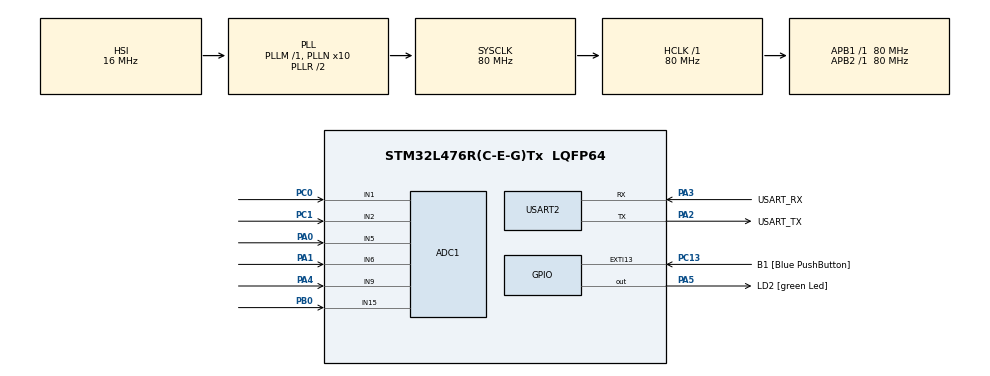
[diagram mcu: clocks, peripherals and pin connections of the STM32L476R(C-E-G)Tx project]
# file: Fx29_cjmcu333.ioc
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ADC1.Channel-1\#ChannelRegularConversion=ADC_CHANNEL_5
ADC1.Channel-2\#ChannelRegularConversion=ADC_CHANNEL_6
ADC1.Channel-3\#ChannelRegularConversion=ADC_CHANNEL_9
ADC1.Channel-4\#ChannelRegularConversion=ADC_CHANNEL_15
ADC1.Channel-5\#ChannelRegularConversion=ADC_CHANNEL_1
ADC1.Channel-6\#ChannelRegularConversion=ADC_CHANNEL_2
ADC1.ContinuousConvMode=ENABLE
ADC1.DMAContinuousRequests=ENABLE
ADC1.EOCSelection=ADC_EOC_SEQ_CONV
ADC1.EnableRegularConversion=ENABLE
ADC1.NbrOfConversion=6
ADC1.NbrOfConversionFlag=1
ADC1.OffsetNumber-1\#ChannelRegularConversion=ADC_OFFSET_NONE
ADC1.OffsetNumber-2\#ChannelRegularConversion=ADC_OFFSET_NONE
ADC1.OffsetNumber-3\#ChannelRegularConversion=ADC_OFFSET_NONE
ADC1.OffsetNumber-4\#ChannelRegularConversion=ADC_OFFSET_NONE
ADC1.OffsetNumber-5\#ChannelRegularConversion=ADC_OFFSET_NONE
ADC1.OffsetNumber-6\#ChannelRegularConversion=ADC_OFFSET_NONE
ADC1.Overrun=ADC_OVR_DATA_PRESERVED
ADC1.OversamplingMode=DISABLE
ADC1.Rank-1\#ChannelRegularConversion=1
ADC1.Rank-2\#ChannelRegularConversion=2
ADC1.Rank-3\#ChannelRegularConversion=3
ADC1.Rank-4\#ChannelRegularConversion=4
ADC1.Rank-5\#ChannelRegularConversion=5
ADC1.Rank-6\#ChannelRegularConversion=6
ADC1.SamplingTime-1\#ChannelRegularConversion=ADC_SAMPLETIME_247CYCLES_5
ADC1.SamplingTime-2\#ChannelRegularConversion=ADC_SAMPLETIME_247CYCLES_5
ADC1.SamplingTime-3\#ChannelRegularConversion=ADC_SAMPLETIME_247CYCLES_5
ADC1.SamplingTime-4\#ChannelRegularConversion=ADC_SAMPLETIME_247CYCLES_5
ADC1.SamplingTime-5\#ChannelRegularConversion=ADC_SAMPLETIME_247CYCLES_5
ADC1.SamplingTime-6\#ChannelRegularConversion=ADC_SAMPLETIME_247CYCLES_5
ADC1.master=1
Dma.ADC1.0.Direction=DMA_PERIPH_TO_MEMORY
Dma.ADC1.0.Instance=DMA1_Channel1
Dma.ADC1.0.MemDataAlignment=DMA_MDATAALIGN_HALFWORD
Dma.ADC1.0.MemInc=DMA_MINC_ENABLE
Dma.ADC1.0.Mode=DMA_CIRCULAR
Dma.ADC1.0.PeriphDataAlignment=DMA_PDATAALIGN_HALFWORD
Dma.ADC1.0.PeriphInc=DMA_PINC_DISABLE
Dma.ADC1.0.Priority=DMA_PRIORITY_LOW
Dma.Request0=ADC1
Mcu.Family=STM32L4
Mcu.Name=STM32L476R(C-E-G)Tx
Mcu.Package=LQFP64
NVIC.DMA1_Channel1_IRQn=true\:0\:0\:false\:false\:true\:false\:true\:true
NVIC.PriorityGroup=NVIC_PRIORITYGROUP_4
PA0.Signal=ADCx_IN5
PA1.Signal=ADCx_IN6
PA13\ (JTMS-SWDIO).GPIO_Label=TMS
PA13\ (JTMS-SWDIO).Mode=Serial_Wire
PA13\ (JTMS-SWDIO).Signal=SYS_JTMS-SWDIO
PA14\ (JTCK-SWCLK).GPIO_Label=TCK
PA14\ (JTCK-SWCLK).Mode=Serial_Wire
PA14\ (JTCK-SWCLK).Signal=SYS_JTCK-SWCLK
PA2.GPIO_Label=USART_TX
PA2.GPIO_Mode=GPIO_MODE_AF_PP
PA2.GPIO_PuPd=GPIO_NOPULL
PA2.GPIO_Speed=GPIO_SPEED_FREQ_VERY_HIGH
PA2.Mode=Asynchronous
PA2.Signal=USART2_TX
PA3.GPIO_Label=USART_RX
PA3.GPIO_Mode=GPIO_MODE_AF_PP
PA3.GPIO_PuPd=GPIO_NOPULL
PA3.GPIO_Speed=GPIO_SPEED_FREQ_VERY_HIGH
PA3.Mode=Asynchronous
PA3.Signal=USART2_RX
PA4.Signal=ADCx_IN9
PA5.GPIO_Label=LD2 [green Led]
PA5.GPIO_ModeDefaultOutputPP=GPIO_MODE_OUTPUT_PP
PA5.GPIO_PuPd=GPIO_NOPULL
PA5.GPIO_Speed=GPIO_SPEED_FREQ_LOW
PA5.Signal=GPIO_Output
PB0.Signal=ADCx_IN15
PB3\ (JTDO-TRACESWO).GPIO_Label=SWO
PB3\ (JTDO-TRACESWO).Signal=SYS_JTDO-SWO
PC0.Signal=ADCx_IN1
PC1.Signal=ADCx_IN2
PC13.GPIO_Label=B1 [Blue PushButton]
PC13.GPIO_ModeDefaultEXTI=GPIO_MODE_IT_FALLING
PC13.GPIO_PuPd=GPIO_NOPULL
PC13.Signal=GPXTI13
PC14-OSC32_IN\ (PC14).Mode=LSE-External-Oscillator
PC14-OSC32_IN\ (PC14).Signal=RCC_OSC32_IN
PC15-OSC32_OUT\ (PC15).Mode=LSE-External-Oscillator
PC15-OSC32_OUT\ (PC15).Signal=RCC_OSC32_OUT
PH0-OSC_IN\ (PH0).Signal=RCC_OSC_IN
PH1-OSC_OUT\ (PH1).Signal=RCC_OSC_OUT
ProjectManager.HeapSize=0x200
ProjectManager.StackSize=0x400
ProjectManager.TargetToolchain=STM32CubeIDE
RCC.ADCFreq_Value=64000000
RCC.AHBFreq_Value=80000000
RCC.APB1Freq_Value=80000000
RCC.APB1TimFreq_Value=80000000
RCC.APB2Freq_Value=80000000
RCC.APB2TimFreq_Value=80000000
RCC.CortexFreq_Value=80000000
RCC.HCLKFreq_Value=80000000
RCC.HSE_VALUE=8000000
RCC.HSI_VALUE=16000000
RCC.MSI_VALUE=4000000
RCC.PLLN=10
RCC.PLLSourceVirtual=RCC_PLLSOURCE_HSI
RCC.PREFETCH_ENABLE=1
RCC.SYSCLKFreq_VALUE=80000000
RCC.SYSCLKSource=RCC_SYSCLKSOURCE_PLLCLK
RCC.USBFreq_Value=64000000
RCC.VCOOutputFreq_Value=160000000
SH.ADCx_IN1.0=ADC1_IN1,IN1-Single-Ended
SH.ADCx_IN15.0=ADC1_IN15,IN15-Single-Ended
SH.ADCx_IN2.0=ADC1_IN2,IN2-Single-Ended
SH.ADCx_IN5.0=ADC1_IN5,IN5-Single-Ended
SH.ADCx_IN6.0=ADC1_IN6,IN6-Single-Ended
SH.ADCx_IN9.0=ADC1_IN9,IN9-Single-Ended
USART2.VirtualMode-Asynchronous=VM_ASYNC
board=NUCLEO-L476RG

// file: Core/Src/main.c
/* USER CODE BEGIN Header */
/**
  ******************************************************************************
  * @file           : main.c
  * @brief          : Main program body
  ******************************************************************************
  * @attention
  *
  * Copyright (c) 2025 STMicroelectronics.
  * All rights reserved.
  *
  * This software is licensed under terms that can be found in the LICENSE file
  * in the root directory of this software component.
  * If no LICENSE file comes with this software, it is provided AS-IS.
  *
  ******************************************************************************
  */
/* USER CODE END Header */
#include "main.h"
#include "adc.h"
#include "dma.h"
#include "usart.h"
#include "gpio.h"

/* USER CODE BEGIN Includes */
#include "stdio.h"
#include "string.h"
/* USER CODE END Includes */

void SystemClock_Config(void);

/* USER CODE BEGIN 0 */
#define ADC_CHANNEL_COUNT 6
uint16_t adc_dma_buffer[ADC_CHANNEL_COUNT];
float voltage[ADC_CHANNEL_COUNT];
float kg1[3];
float kg2[3];
float vref[ADC_CHANNEL_COUNT];
char buffer[100];

float filter_alpha = 0.5; // 可以放到循环外
static float filtered_voltage[ADC_CHANNEL_COUNT] = {0}; // 只需声明一次
//串口打印
void send_string(char *str) {
    HAL_UART_Transmit(&huart2, (uint8_t*)str, strlen(str), HAL_MAX_DELAY);
}

/* USER CODE END 0 */

int main(void)
{

  /* MCU Configuration--------------------------------------------------------*/

  /* Reset of all peripherals, Initializes the Flash interface and the Systick. */
  HAL_Init();

  /* Configure the system clock */
  SystemClock_Config();

  /* Initialize all configured peripherals */
  MX_GPIO_Init();
  MX_DMA_Init();
  MX_USART2_UART_Init();
  MX_ADC1_Init();
  /* USER CODE BEGIN 2 */

  HAL_ADC_Start_DMA(&hadc1, (uint32_t*)adc_dma_buffer, ADC_CHANNEL_COUNT);

  // 建议加延时或第一次采样等待
  HAL_Delay(1000);

  for (int j = 0; j < 10; j++) {
      for (int i = 0; i < ADC_CHANNEL_COUNT; i++) {
          vref[i] += ((float)adc_dma_buffer[i]) / 4095.0f * 3.3f;
      }
      HAL_Delay(50);
  }

  for (int i = 0; i < ADC_CHANNEL_COUNT; i++) {
      vref[i] /= 10.0f;
  }

  // 启动 ADC
    //HAL_ADC_Start(&hadc1);

  /* USER CODE END 2 */

  /* Infinite loop */
  while (1)
  {

    /* USER CODE BEGIN 3 */

//	  	  	HAL_ADC_Start(&hadc1);  // 每次都重启 ADC（保险）
//	    	HAL_ADC_PollForConversion(&hadc1,HAL_MAX_DELAY);
//	        adc_raw = HAL_ADC_GetValue(&hadc1);
//	       // HAL_ADC_Stop(&hadc1);
//
//
//            voltage = (((float)adc_raw) / 4095.0f )* 3.38f - vref;
//	        HAL_Delay(1);  // 给 ADC 一点稳定时间，可选
//
//
//	        float kg =  voltage/2.0f * 45.36f*3.0f;
//
//
//	        snprintf(buffer, sizeof(buffer), " Voltage = %.5f v   Poids = %.3f kg \r\n",voltage,kg);
//	        send_string(buffer);
//
//	        HAL_Delay(500);  // 每秒2次，防止刷屏太快

	      // 依次获取三个通道的值
	  // ★ 滑动平均滤波处理每路原始ADC数据
	      for (int i = 0; i < ADC_CHANNEL_COUNT; i++) {
	          float raw_v = ((float)adc_dma_buffer[i]) / 4095.0f * 3.3f;
	          filtered_voltage[i] = filter_alpha * raw_v + (1.0f - filter_alpha) * filtered_voltage[i];
	          voltage[i] = filtered_voltage[i];
	      }

	      // ↓↓↓ 下面继续你原来的 vref 校准、kg 计算和串口输出 ↓↓↓
	      for (int i = 0; i < 3; i++) {
	          float weight1 = (voltage[i] - vref[i]) * 45.36f / 2.0f;
	          float weight2 = (voltage[i+3] - vref[i+3]) * 45.36f / 2.0f;
	          if (weight1 < 0) weight1 = 0;
	          kg1[i] = weight1;
	          if (weight2 < 0) weight2 = 0;
			  kg2[i] = weight2;

	      }

	      for (int i = 0; i < 3; i++) {

	      	          snprintf(buffer, sizeof(buffer), "V[%d]=%.3f V  Poids[%d]=%.3f kg\r\n", i, voltage[i]-vref[i], i, kg1[i]);
	      	          send_string(buffer);
	      	      }
	      for (int i = 0; i < 3; i++) {

	      	      	          snprintf(buffer, sizeof(buffer), "V[%d]=%.3f V  Poids[%d]=%.3f kg\r\n", i+3, voltage[i+3]-vref[i+3], i+3, kg2[i]);
	      	      	          send_string(buffer);
	      	      	      }

	      float total1 = kg1[0] + kg1[1] + kg1[2];
	      float total2 = kg2[0] + kg2[1] + kg2[2];
	      snprintf(buffer, sizeof(buffer), "Poids total1 = %.3f kg\r\n\r\n", total1);
	      send_string(buffer);
	      snprintf(buffer, sizeof(buffer), "Poids total2 = %.3f kg\r\n\r\n", total2);
	      send_string(buffer);

	      HAL_Delay(1000);
  }
  /* USER CODE END 3 */
}

void SystemClock_Config(void)
{
  RCC_OscInitTypeDef RCC_OscInitStruct = {0};
  RCC_ClkInitTypeDef RCC_ClkInitStruct = {0};

  /** Configure the main internal regulator output voltage
  */
  if (HAL_PWREx_ControlVoltageScaling(PWR_REGULATOR_VOLTAGE_SCALE1) != HAL_OK)
  {
    Error_Handler();
  }

  /** Initializes the RCC Oscillators according to the specified parameters
  * in the RCC_OscInitTypeDef structure.
  */
  RCC_OscInitStruct.OscillatorType = RCC_OSCILLATORTYPE_HSI;
  RCC_OscInitStruct.HSIState = RCC_HSI_ON;
  RCC_OscInitStruct.HSICalibrationValue = RCC_HSICALIBRATION_DEFAULT;
  RCC_OscInitStruct.PLL.PLLState = RCC_PLL_ON;
  RCC_OscInitStruct.PLL.PLLSource = RCC_PLLSOURCE_HSI;
  RCC_OscInitStruct.PLL.PLLM = 1;
  RCC_OscInitStruct.PLL.PLLN = 10;
  RCC_OscInitStruct.PLL.PLLP = RCC_PLLP_DIV7;
  RCC_OscInitStruct.PLL.PLLQ = RCC_PLLQ_DIV2;
  RCC_OscInitStruct.PLL.PLLR = RCC_PLLR_DIV2;
  if (HAL_RCC_OscConfig(&RCC_OscInitStruct) != HAL_OK)
  {
    Error_Handler();
  }

  /** Initializes the CPU, AHB and APB buses clocks
  */
  RCC_ClkInitStruct.ClockType = RCC_CLOCKTYPE_HCLK|RCC_CLOCKTYPE_SYSCLK
                              |RCC_CLOCKTYPE_PCLK1|RCC_CLOCKTYPE_PCLK2;
  RCC_ClkInitStruct.SYSCLKSource = RCC_SYSCLKSOURCE_PLLCLK;
  RCC_ClkInitStruct.AHBCLKDivider = RCC_SYSCLK_DIV1;
  RCC_ClkInitStruct.APB1CLKDivider = RCC_HCLK_DIV1;
  RCC_ClkInitStruct.APB2CLKDivider = RCC_HCLK_DIV1;

  if (HAL_RCC_ClockConfig(&RCC_ClkInitStruct, FLASH_LATENCY_4) != HAL_OK)
  {
    Error_Handler();
  }
}

void Error_Handler(void)
{
  __disable_irq();
  while (1)
  {
  }
}
